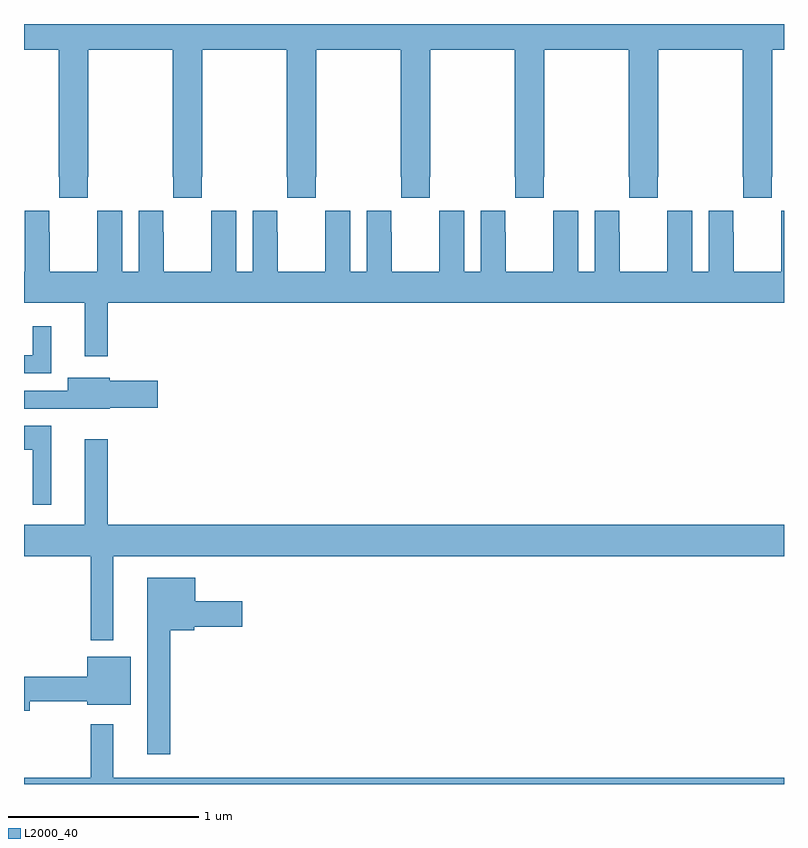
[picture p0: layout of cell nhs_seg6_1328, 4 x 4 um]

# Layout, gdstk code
import gdstk
lib = gdstk.Library(unit=1e-6, precision=1e-09)
def P(c, l, *ps):  # polygons
    for p in ps: c.add(gdstk.Polygon(p, *l))
L2000_40 = (2000, 40)

nhs_seg6_1328 = lib.new_cell('nhs_seg6_1328')
P(nhs_seg6_1328, L2000_40, [(193.335,918.697),(193.338,918.697),(193.338,919.364),(193.783,919.364),(193.783,918.697),(193.785,918.697),(193.785,918.585),(193.935,918.585),(193.935,918.697),(193.938,918.697),(193.938,919.364),(194.383,919.364),(194.383,918.697),(194.385,918.697),(194.385,918.585),(194.535,918.585),(194.535,918.697),(194.538,918.697),(194.538,919.364),(194.983,919.364),(194.983,918.697),(194.985,918.697),(194.985,918.585),(195.135,918.585),(195.135,918.697),(195.138,918.697),(195.138,919.364),(195.583,919.364),(195.583,918.697),(195.585,918.697),(195.585,918.585),(195.735,918.585),(195.735,918.697),(195.738,918.697),(195.738,919.364),(196.183,919.364),(196.183,918.697),(196.185,918.697),(196.185,918.585),(196.335,918.585),(196.335,918.697),(196.338,918.697),(196.338,919.364),(196.783,919.364),(196.783,918.697),(196.785,918.697),(196.785,918.585),(196.935,918.585),(196.935,918.697),(196.938,918.697),(196.938,919.364),(197,919.364),(197,919.5),(193,919.5),(193,919.364),(193.183,919.364),(193.183,918.697),(193.185,918.697),(193.185,918.585),(193.335,918.585)],
  [(197,918.517),(196.986,918.517),(196.986,918.404),(196.985,918.404),(196.985,918.196),(196.735,918.196),(196.735,918.404),(196.734,918.404),(196.734,918.517),(196.604,918.517),(196.604,918.196),(196.516,918.196),(196.516,918.517),(196.386,918.517),(196.386,918.404),(196.385,918.404),(196.385,918.196),(196.135,918.196),(196.135,918.404),(196.134,918.404),(196.134,918.517),(196.004,918.517),(196.004,918.196),(195.916,918.196),(195.916,918.517),(195.786,918.517),(195.786,918.404),(195.785,918.404),(195.785,918.196),(195.535,918.196),(195.535,918.404),(195.534,918.404),(195.534,918.517),(195.404,918.517),(195.404,918.196),(195.316,918.196),(195.316,918.517),(195.186,918.517),(195.186,918.404),(195.185,918.404),(195.185,918.196),(194.935,918.196),(194.935,918.404),(194.934,918.404),(194.934,918.517),(194.804,918.517),(194.804,918.196),(194.716,918.196),(194.716,918.517),(194.586,918.517),(194.586,918.404),(194.585,918.404),(194.585,918.196),(194.335,918.196),(194.335,918.404),(194.334,918.404),(194.334,918.517),(194.204,918.517),(194.204,918.196),(194.116,918.196),(194.116,918.517),(193.986,918.517),(193.986,918.404),(193.985,918.404),(193.985,918.196),(193.735,918.196),(193.735,918.404),(193.734,918.404),(193.734,918.517),(193.604,918.517),(193.604,918.196),(193.516,918.196),(193.516,918.517),(193.386,918.517),(193.386,918.404),(193.385,918.404),(193.385,918.196),(193.135,918.196),(193.135,918.404),(193.134,918.404),(193.134,918.517),(193.004,918.517),(193.004,918.196),(193,918.196),(193,918.032),(193.319,918.032),(193.319,917.751),(193.441,917.751),(193.441,918.032),(197,918.032)],
  [(193.144,917.908),(193.046,917.908),(193.046,917.757),(193,917.757),(193,917.661),(193.144,917.661)],
  [(193.452,917.48),(193.705,917.48),(193.705,917.622),(193.452,917.622),(193.452,917.638),(193.229,917.638),(193.229,917.571),(193,917.571),(193,917.475),(193.233,917.475),(193.233,917.474),(193.452,917.474)],
  [(193.144,917.386),(193,917.386),(193,917.258),(193.046,917.258),(193.046,916.971),(193.144,916.971)],
  [(193.471,916.7),(197,916.7),(197,916.864),(193.441,916.864),(193.441,917.314),(193.319,917.314),(193.319,916.864),(193,916.864),(193,916.7),(193.35,916.7),(193.35,916.256),(193.471,916.256)],
  [(193.771,916.31),(193.896,916.31),(193.896,916.328),(194.149,916.328),(194.149,916.462),(193.9,916.462),(193.9,916.585),(193.649,916.585),(193.649,915.657),(193.771,915.657)],
  [(193.03,915.936),(193.334,915.936),(193.334,915.917),(193.561,915.917),(193.561,916.171),(193.334,916.171),(193.334,916.064),(193,916.064),(193,915.886),(193.03,915.886)],
  [(197,915.532),(193.471,915.532),(193.471,915.814),(193.35,915.814),(193.35,915.532),(193,915.532),(193,915.5),(197,915.5)])

lib.write_gds('nhs_seg6_1328.gds')
